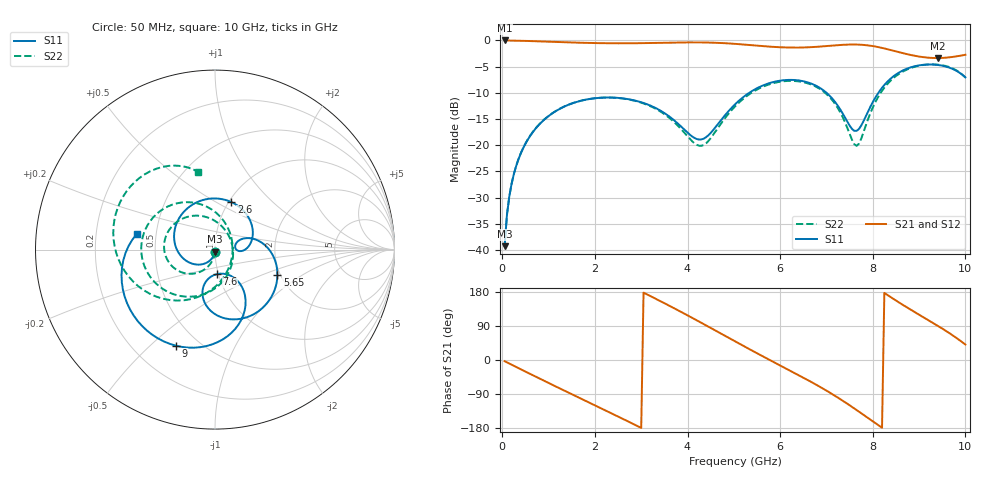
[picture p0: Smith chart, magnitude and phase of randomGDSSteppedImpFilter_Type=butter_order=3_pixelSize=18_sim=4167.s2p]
! freq	dB(S11)	phase(S11)	dB(S12)	phase(S12)
!  dB(S21)	phase(S21)	dB(S22)	phase(S22)
!S-par simulation data
#  GHz  S  DB  R 50
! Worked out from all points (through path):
!   200 points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, 50 MHz to 10 GHz, reference 50 ohm
!   highest |S21| = -0.01 dB at 50 MHz (marker M1); lowest = -3.4 dB at 9.4 GHz (marker M2)
!   group delay of S21, straight-line fit = 187 ps
!   lowest |S11| = -39.3 dB at 50 MHz (marker M3), VSWR 1.02, Z = 49.9 - j1.08 ohm
!   |S11| at or under -10 dB: start of sweep to 5.332 GHz; 7.001 GHz to 8.122 GHz (1.121 GHz wide, 14.8 % of centre)
!   |S22| runs from -39.2 to -4.6 dB; largest |S21 - S12| = 0
!   S11 on the Smith chart (normalised r, x): 50 MHz: 1.00, -0.02; 2.6 GHz: 1.03, +0.59; 5.65 GHz: 1.93, -0.63; 7.6 GHz: 0.98, -0.27; 9 GHz: 0.38, -0.60; 10 GHz: 0.39, +0.08
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0.05  -39.28 -92.9  -0.01 -3.1  -0.01 -3.1  -39.24 -91.0
0.1  -33.35 -97.1  -0.01 -6.2  -0.01 -6.2  -33.32 -93.8
0.2  -27.41 -105.4  -0.03 -12.3  -0.03 -12.3  -27.38 -98.9
0.5  -19.72 -129.1  -0.09 -30.6  -0.09 -30.6  -19.68 -112.8
1.15  -13.52 -179.1  -0.29 -69.6  -0.29 -69.6  -13.49 -141.4
1.75  -11.41 135.0  -0.46 -105.0  -0.46 -105.0  -11.40 -166.4
2.6  -11.06 70.9  -0.55 -155.1  -0.55 -155.1  -11.09 158.0
3.4  -13.32 16.3  -0.46 156.2  -0.46 156.2  -13.49 116.7
4.25  -18.92 6.1  -0.38 101.4  -0.38 101.4  -20.10 17.0
4.65  -16.04 21.5  -0.46 74.6  -0.46 74.6  -16.80 -56.6
5.05  -11.99 10.7  -0.67 47.6  -0.67 47.6  -12.37 -98.8
5.65  -8.52 -22.0  -1.10 8.1  -1.10 8.1  -8.75 -143.4
6.15  -7.54 -51.6  -1.35 -24.0  -1.35 -24.0  -7.74 -176.5
6.7  -8.34 -83.3  -1.27 -59.8  -1.27 -59.8  -8.53 145.4
7.2  -11.91 -106.0  -0.93 -95.7  -0.93 -95.7  -12.29 100.7
7.6  -17.25 -86.1  -0.78 -127.8  -0.78 -127.8  -19.80 17.9
7.7  -16.92 -70.4  -0.80 -136.2  -0.80 -136.2  -19.74 -23.0
8  -11.78 -54.2  -1.08 -161.9  -1.08 -161.9  -12.81 -96.3
8.35  -7.58 -69.5  -1.75 168.9  -1.75 168.9  -7.99 -136.6
9  -4.76 -112.3  -3.08 119.6  -3.08 119.6  -4.82 170.8
9.4  -4.68 -140.9  -3.36 90.5  -3.36 90.5  -4.62 143.1
10  -7.06 168.6  -2.74 40.7  -2.74 40.7  -7.08 102.2
